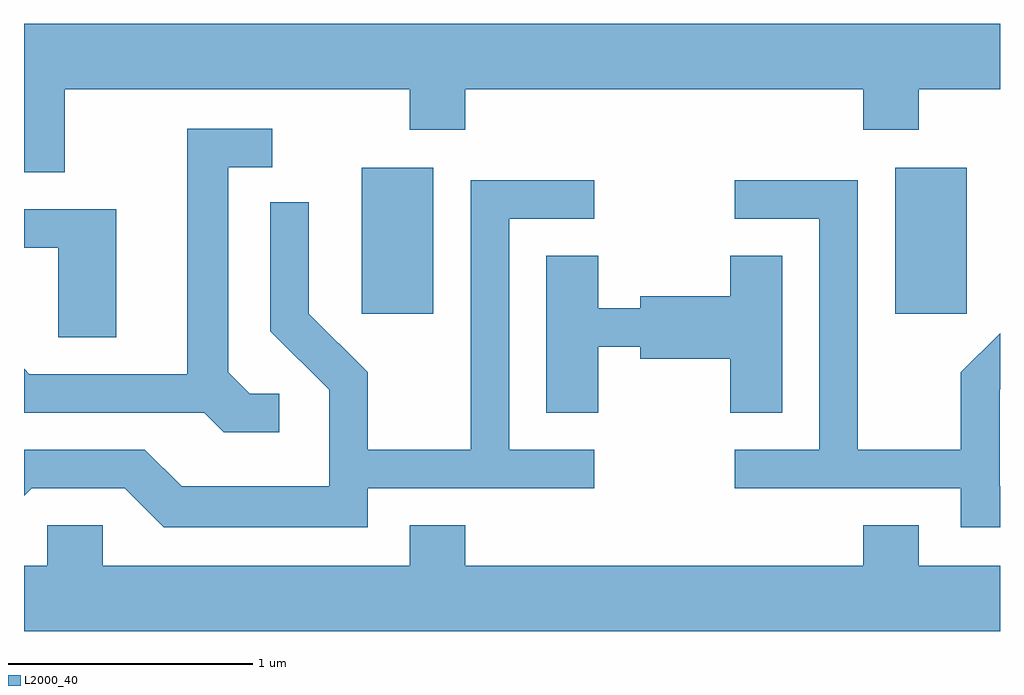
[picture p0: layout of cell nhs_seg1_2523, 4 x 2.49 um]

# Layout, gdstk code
import gdstk
lib = gdstk.Library(unit=1e-6, precision=1e-09)
def R(c, l, rs):  # rectangles x0, y0, x1, y1
    for r in rs: c.add(gdstk.rectangle(r[:2], r[2:], *l))
def P(c, l, *ps):  # polygons
    for p in ps: c.add(gdstk.Polygon(p, *l))
L2000_40 = (2000, 40)

nhs_seg1_2523 = lib.new_cell('nhs_seg1_2523')
R(nhs_seg1_2523, L2000_40, [(262.996,929.736,263.289,930.334), (265.181,929.736,265.474,930.334)])
P(nhs_seg1_2523, L2000_40, [(261.779,930.656),(263.191,930.656),(263.191,930.491),(263.419,930.491),(263.419,930.656),(265.051,930.656),(265.051,930.491),(265.279,930.491),(265.279,930.656),(265.611,930.656),(265.611,930.924),(261.611,930.924),(261.611,930.316),(261.779,930.316)],
  [(262.658,929.409),(262.537,929.409),(262.449,929.497),(262.449,930.336),(262.628,930.336),(262.628,930.494),(262.281,930.494),(262.281,929.489),(261.632,929.489),(261.611,929.51),(261.611,929.331),(262.349,929.331),(262.429,929.251),(262.658,929.251)],
  [(265.611,929.029),(265.609,929.029),(265.609,929.424),(265.611,929.426),(265.611,929.657),(265.451,929.497),(265.451,929.179),(265.029,929.179),(265.029,930.284),(264.523,930.284),(264.523,930.126),(264.871,930.126),(264.871,929.179),(264.523,929.179),(264.523,929.021),(265.451,929.021),(265.451,928.861),(265.611,928.861)],
  [(263.019,929.021),(263.948,929.021),(263.948,929.179),(263.599,929.179),(263.599,930.126),(263.948,930.126),(263.948,930.284),(263.441,930.284),(263.441,929.179),(263.019,929.179),(263.019,929.497),(262.779,929.737),(262.779,930.193),(262.621,930.193),(262.621,929.664),(262.861,929.424),(262.861,929.029),(262.257,929.029),(262.106,929.179),(261.611,929.179),(261.611,928.99),(261.642,929.021),(262.024,929.021),(262.184,928.861),(263.019,928.861)],
  [(261.989,930.164),(261.611,930.164),(261.611,930.006),(261.751,930.006),(261.751,929.641),(261.989,929.641)],
  [(263.964,929.601),(264.136,929.601),(264.136,929.551),(264.506,929.551),(264.506,929.331),(264.719,929.331),(264.719,929.974),(264.506,929.974),(264.506,929.809),(264.136,929.809),(264.136,929.759),(263.964,929.759),(263.964,929.974),(263.751,929.974),(263.751,929.331),(263.964,929.331)],
  [(265.611,928.704),(265.279,928.704),(265.279,928.869),(265.051,928.869),(265.051,928.704),(263.419,928.704),(263.419,928.869),(263.191,928.869),(263.191,928.704),(261.934,928.704),(261.934,928.869),(261.706,928.869),(261.706,928.704),(261.611,928.704),(261.611,928.436),(265.611,928.436)])

lib.write_gds('nhs_seg1_2523.gds')
